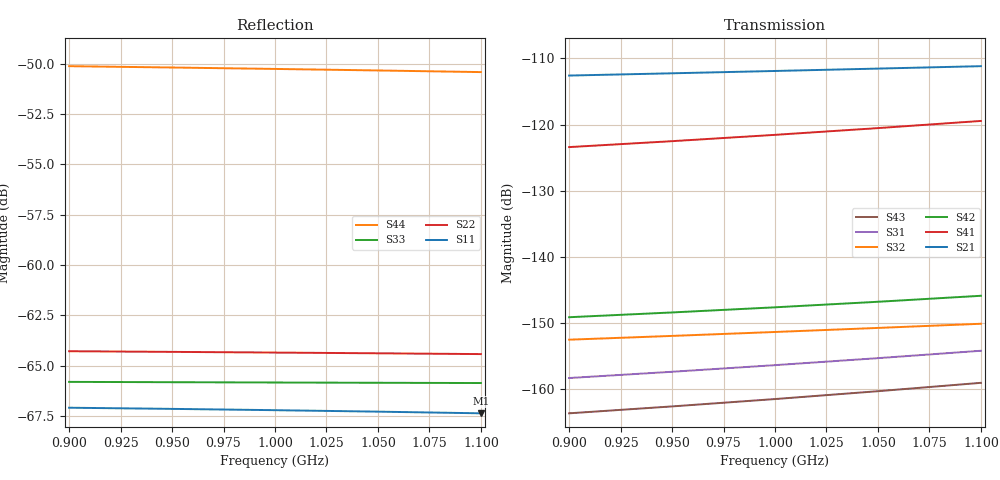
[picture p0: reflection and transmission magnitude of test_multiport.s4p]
! Touchstone file from project test_multiport
! Exported from HFSS 2019.2.0
!Data is not renormalized
# GHZ S MA
! Modal data exported
! Port[1] = 1:1
! Port[2] = 2:1
! Port[3] = 3:1
! Port[4] = 4:1
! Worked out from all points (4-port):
!   5 points, 900 MHz to 1.1 GHz, reference per port
!   strongest paths, dB at 900 MHz, 950 MHz, 1 GHz, 1.05 GHz, 1.1 GHz:
!     S21: -112.6, -112.2, -111.9, -111.5, -111.2
!     S41: -123.4, -122.5, -121.6, -120.5, -119.5
!     S42: -149.1, -148.4, -147.6, -146.8, -145.9
!     S32: -152.5, -152.0, -151.4, -150.8, -150.1
!     S31: -158.3, -157.4, -156.4, -155.3, -154.2
!     S43: -163.7, -162.6, -161.5, -160.3, -159.1
!   lowest |S11| = -67.4 dB at 1.1 GHz (marker M1), VSWR 1.00
!   |S11| at or under -10 dB: start of sweep to end of sweep
0.9  0.0004426 -180.0  2.348e-06 -180.0  1.21e-08 180.0  6.754e-07 180.0
     2.348e-06 -180.0  0.0006113 180.0  2.36e-08 180.0  3.49e-08 -180.0
     1.21e-08 180.0  2.36e-08 -180.0  0.000513 -180.0  6.546e-09 -0.0
     6.754e-07 180.0  3.49e-08 -180.0  6.546e-09 -0.0  0.003119 -180.0
0.95  0.0004397 180.0  2.442e-06 -180.0  1.35e-08 -180.0  7.489e-07 -180.0
      2.442e-06 180.0  0.000609 180.0  2.52e-08 180.0  3.792e-08 -180.0
      1.35e-08 180.0  2.52e-08 180.0  0.0005121 180.0  7.382e-09 0.0
      7.489e-07 -180.0  3.792e-08 -180.0  7.382e-09 0.0  0.003095 180.0
1  0.0004364 -180.0  2.543e-06 -180.0  1.515e-08 -180.0  8.361e-07 -180.0
   2.543e-06 -180.0  0.0006066 -180.0  2.699e-08 -180.0  4.147e-08 -180.0
   1.515e-08 -180.0  2.699e-08 -180.0  0.0005112 -180.0  8.392e-09 0.0
   8.361e-07 -180.0  4.147e-08 -180.0  8.392e-09 0.0  0.00307 -180.0
1.05  0.0004328 -180.0  2.651e-06 -180.0  1.711e-08 180.0  9.402e-07 180.0
      2.651e-06 -180.0  0.0006041 180.0  2.896e-08 -180.0  4.568e-08 180.0
      1.711e-08 180.0  2.896e-08 -180.0  0.0005104 -180.0  9.622e-09 -0.0
      9.402e-07 180.0  4.568e-08 -180.0  9.622e-09 -0.0  0.003043 -180.0
1.1  0.0004286 180.0  2.765e-06 -180.0  1.946e-08 -180.0  1.065e-06 -180.0
     2.765e-06 -180.0  0.0006014 180.0  3.114e-08 180.0  5.069e-08 180.0
     1.946e-08 -180.0  3.114e-08 180.0  0.0005097 -180.0  1.113e-08 0.0
     1.065e-06 -180.0  5.069e-08 180.0  1.113e-08 0.0  0.003015 180.0
